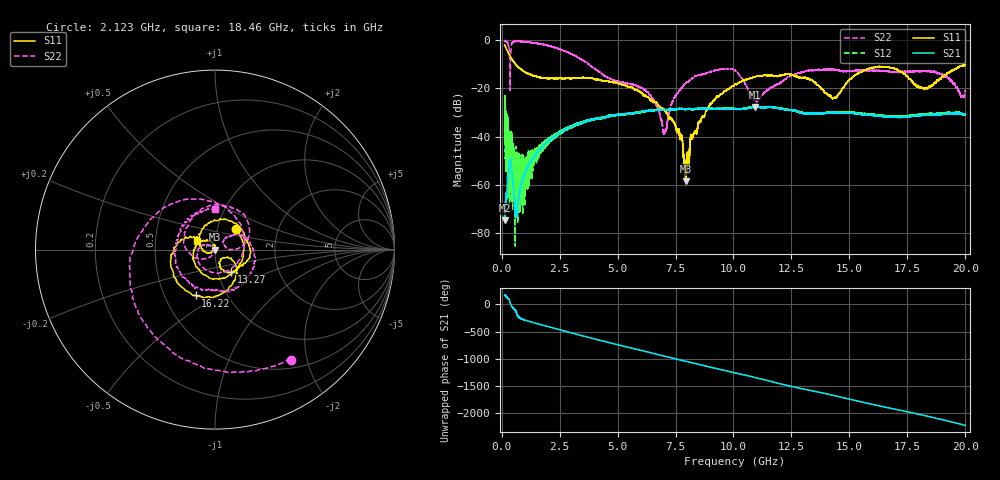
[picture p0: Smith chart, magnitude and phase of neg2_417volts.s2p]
!Created with skrf (http://scikit-rf.org).
# GHz S RI R 50.0
!freq ReS11 ImS11 ReS21 ImS21 ReS12 ImS12 ReS22 ImS22
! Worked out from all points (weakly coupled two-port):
!   20013 points, 130 MHz to 20 GHz, reference 50 ohm
!   highest |S21| = -27.71 dB at 10.93 GHz (marker M1); lowest = -74.7 dB at 133 MHz (marker M2)
!   lowest |S11| = -58.4 dB at 7.96 GHz (marker M3), VSWR 1.00, Z = 49.9 + j0.0262 ohm
!   |S11| at or under -10 dB: 601.9021 MHz to 602.4182 MHz (516 kHz wide, 0.0857 % of centre); 604.7 MHz to end of sweep
!   |S22| runs from -38.9 to -0.1 dB; largest |S21 - S12| = 0.076
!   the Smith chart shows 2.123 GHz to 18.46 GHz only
!   S11 on the Smith chart (normalised r, x): 2.123 GHz: 1.22, +0.29; 13.27 GHz: 1.15, -0.29; 16.22 GHz: 0.71, -0.40; 18.46 GHz: 0.82, +0.07
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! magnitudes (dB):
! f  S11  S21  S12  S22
! 130 MHz  -2.0  -73.2  -35.9  -0.1
! 133 MHz  -2.1  -74.7  -27.6  -0.2
! 363 MHz  -6.6  -49.2  -39.5  -19.3
! 609 MHz  -10.1  -72.7  -49.2  -0.5
! 743 MHz  -11.4  -65.0  -51.9  -0.5
! 1.196 GHz  -14.1  -51.2  -52.2  -0.9
! 2.123 GHz  -15.8  -41.0  -40.6  -2.6
! 3.442 GHz  -15.6  -34.3  -34.2  -8.1
! 6.754 GHz  -27.0  -28.9  -28.9  -28.7
! 7.047 GHz  -29.3  -28.9  -29.0  -37.9
! 7.701 GHz  -40.4  -28.5  -28.4  -20.5
! 7.96 GHz  -58.4  -28.6  -28.6  -17.6
! 8.9 GHz  -28.1  -28.4  -28.4  -13.5
! 10.06 GHz  -18.2  -28.5  -28.3  -12.7
! 10.93 GHz  -15.3  -27.7  -27.6  -24.7
! 13.27 GHz  -16.4  -30.4  -30.2  -12.7
! 13.38 GHz  -16.6  -30.5  -30.2  -12.6
! 14.35 GHz  -24.0  -30.0  -29.9  -12.2
! 16.22 GHz  -11.1  -31.4  -31.3  -12.7
! 16.69 GHz  -11.3  -31.8  -31.8  -13.0
! 18.46 GHz  -19.2  -30.9  -30.6  -13.1
! 20 GHz  -10.2  -30.9  -30.9  -20.9
